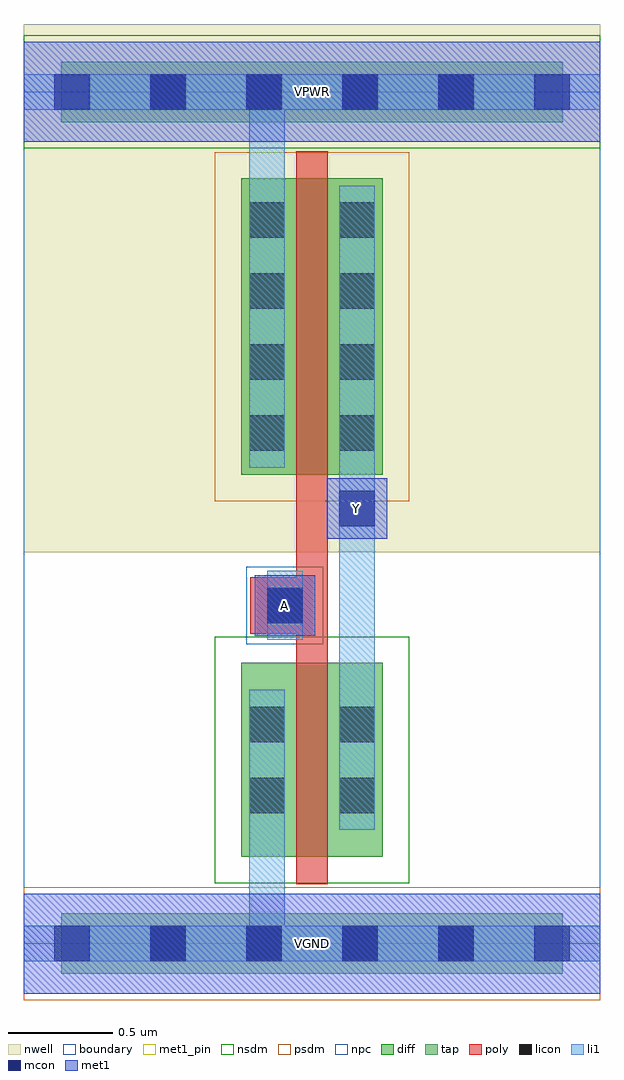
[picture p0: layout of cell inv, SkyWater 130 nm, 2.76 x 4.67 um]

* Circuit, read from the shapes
.subckt inv A VGND VPWR Y
XM1 Y A VGND VGND sky130_fd_pr__nfet_01v8 w=0.93 l=0.15
XM2 Y A VPWR VPWR sky130_fd_pr__pfet_01v8 w=1.42 l=0.15
.ends

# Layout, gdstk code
import gdstk
lib = gdstk.Library(unit=1e-6, precision=1e-09)
def R(c, l, rs):  # rectangles x0, y0, x1, y1
    for r in rs: c.add(gdstk.rectangle(r[:2], r[2:], *l))
def A(c, l, x, y, w, h, nx, ny, dx, dy):  # array of equal rectangles
    R(c, l, [(x+i*dx, y+j*dy, x+i*dx+w, y+j*dy+h) for i in range(nx) for j in range(ny)])
nwell = (64, 20)
diff = (65, 20)
tap = (65, 44)
poly = (66, 20)
licon = (66, 44)
li1 = (67, 20)
mcon = (67, 44)
met1_pin = (68, 16)
met1 = (68, 20)
nsdm = (93, 44)
psdm = (94, 20)
npc = (95, 20)
boundary = (235, 4)

inv = lib.new_cell('inv')
R(inv, nwell, [(0,1.875,2.76,4.405)])
R(inv, diff, [(1.04,0.415,1.72,1.345), (1.04,2.245,1.72,3.665)])
R(inv, tap, [(0.18,-0.145,2.58,0.145), (0.18,3.935,2.58,4.225)])
R(inv, poly, [(1.305,0.285,1.455,3.795), (1.085,1.485,1.415,1.755)])
A(inv, licon, 0.605, -0.085, 0.17, 0.17, 4, 2, 0.46, 4.08)
A(inv, licon, 1.08, 2.36, 0.17, 0.17, 1, 4, 0, 0.34)
A(inv, licon, 1.51, 2.36, 0.17, 0.17, 1, 4, 0, 0.34)
R(inv, licon, [(1.08,0.625,1.25,0.795), (1.51,0.625,1.68,0.795), (1.08,0.965,1.25,1.135), (1.51,0.965,1.68,1.135), (1.165,1.535,1.335,1.705)])
R(inv, li1, [(0,-0.085,2.76,0.085), (1.08,-0.085,1.25,1.215), (1.08,0.545,1.25,1.215), (1.51,0.545,1.68,1.215), (1.51,0.545,1.68,3.63), (1.165,1.455,1.335,1.785), (1.08,2.28,1.25,3.63), (1.08,2.28,1.25,4.165), (1.51,2.28,1.68,3.63), (0,3.995,2.76,4.165)])
A(inv, mcon, 0.145, -0.085, 0.17, 0.17, 6, 2, 0.46, 4.08)
R(inv, mcon, [(1.165,1.535,1.335,1.705), (1.51,2,1.68,2.17)])
R(inv, met1_pin, [(0,-0.24,2.76,0.24), (1.105,1.475,1.395,1.765), (1.45,1.94,1.74,2.23), (0,3.84,2.76,4.32)])
R(inv, met1, [(0,-0.24,2.76,0.24), (1.105,1.475,1.395,1.765), (1.45,1.94,1.74,2.23), (0,3.84,2.76,4.32)])
R(inv, nsdm, [(0.915,0.29,1.845,1.47), (0,3.81,2.76,4.35)])
R(inv, psdm, [(0,-0.27,2.76,0.27), (0.915,2.12,1.845,3.79)])
R(inv, npc, [(1.065,1.435,1.435,1.805)])
R(inv, boundary, [(0,0,2.76,4.08)])
inv.add(gdstk.Label('A', (1.25,1.62), layer=68, texttype=5))
inv.add(gdstk.Label('Y', (1.595,2.085), layer=68, texttype=5))
inv.add(gdstk.Label('VPWR', (1.38,4.08), layer=68, texttype=5))
inv.add(gdstk.Label('VGND', (1.38,0), layer=68, texttype=5))
inv.add(gdstk.Label('A', (1.25,1.62), layer=68, texttype=16))
inv.add(gdstk.Label('Y', (1.595,2.085), layer=68, texttype=16))
inv.add(gdstk.Label('VPWR', (1.38,4.08), layer=68, texttype=16))
inv.add(gdstk.Label('VGND', (1.38,0), layer=68, texttype=16))

lib.write_gds('inv.gds')
